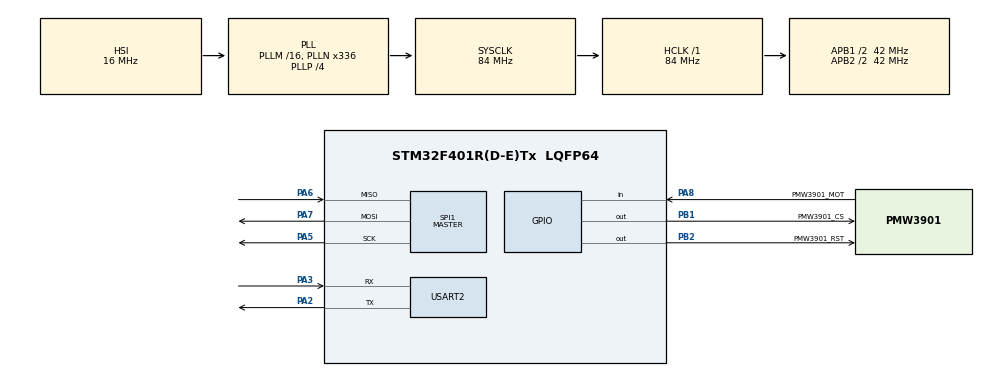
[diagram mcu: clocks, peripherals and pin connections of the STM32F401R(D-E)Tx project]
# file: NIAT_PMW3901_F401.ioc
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Mcu.Family=STM32F4
Mcu.Name=STM32F401R(D-E)Tx
Mcu.Package=LQFP64
NVIC.PriorityGroup=NVIC_PRIORITYGROUP_4
PA2.Mode=Asynchronous
PA2.Signal=USART2_TX
PA3.Mode=Asynchronous
PA3.Signal=USART2_RX
PA5.Mode=Full_Duplex_Master
PA5.Signal=SPI1_SCK
PA6.Mode=Full_Duplex_Master
PA6.Signal=SPI1_MISO
PA7.Mode=Full_Duplex_Master
PA7.Signal=SPI1_MOSI
PA8.GPIO_Label=PMW3901_MOT
PA8.Signal=GPIO_Input
PB1.GPIO_Label=PMW3901_CS
PB1.GPIO_Speed=GPIO_SPEED_FREQ_HIGH
PB1.PinState=GPIO_PIN_SET
PB1.Signal=GPIO_Output
PB2.GPIO_Label=PMW3901_RST
PB2.GPIO_Speed=GPIO_SPEED_FREQ_HIGH
PB2.PinState=GPIO_PIN_SET
PB2.Signal=GPIO_Output
ProjectManager.HeapSize=0x200
ProjectManager.StackSize=0x400
ProjectManager.TargetToolchain=STM32CubeIDE
RCC.48MHZClocksFreq_Value=84000000
RCC.AHBFreq_Value=84000000
RCC.APB1CLKDivider=RCC_HCLK_DIV2
RCC.APB1Freq_Value=42000000
RCC.APB1TimFreq_Value=84000000
RCC.APB2CLKDivider=RCC_HCLK_DIV2
RCC.APB2Freq_Value=42000000
RCC.APB2TimFreq_Value=84000000
RCC.CortexFreq_Value=84000000
RCC.HCLKFreq_Value=84000000
RCC.HSE_VALUE=25000000
RCC.HSI_VALUE=16000000
RCC.LSE_VALUE=32768
RCC.PLLN=336
RCC.PLLP=RCC_PLLP_DIV4
RCC.SYSCLKFreq_VALUE=84000000
RCC.SYSCLKSource=RCC_SYSCLKSOURCE_PLLCLK
RCC.VCOOutputFreq_Value=336000000
SPI1.BaudRatePrescaler=SPI_BAUDRATEPRESCALER_64
SPI1.Direction=SPI_DIRECTION_2LINES
SPI1.Mode=SPI_MODE_MASTER
SPI1.VirtualType=VM_MASTER
USART2.VirtualMode=VM_ASYNC
board=custom

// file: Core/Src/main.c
/* USER CODE BEGIN Header */
/**
  ******************************************************************************
  * @file           : main.c
  * @brief          : Main program body
  ******************************************************************************
  * @attention
  *
  * Copyright (c) 2026 STMicroelectronics.
  * All rights reserved.
  *
  * This software is licensed under terms that can be found in the LICENSE file
  * in the root directory of this software component.
  * If no LICENSE file comes with this software, it is provided AS-IS.
  *
  ******************************************************************************
  */
/* USER CODE END Header */
#include "main.h"

/* USER CODE BEGIN Includes */
#include "pmw3901.h"
#include <stdio.h>
#include <string.h>
/* USER CODE END Includes */

SPI_HandleTypeDef hspi1;

UART_HandleTypeDef huart2;

void SystemClock_Config(void);
static void MX_GPIO_Init(void);
static void MX_SPI1_Init(void);
static void MX_USART2_UART_Init(void);

/* USER CODE BEGIN 0 */
static void PMW3901_Print(const char *message)
{
    HAL_UART_Transmit(
        &huart2,
        (uint8_t *)message,
        (uint16_t)strlen(message),
        HAL_MAX_DELAY
    );
}
/* USER CODE END 0 */

int main(void)
{

  /* MCU Configuration--------------------------------------------------------*/

  /* Reset of all peripherals, Initializes the Flash interface and the Systick. */
  HAL_Init();

  /* Configure the system clock */
  SystemClock_Config();

  /* Initialize all configured peripherals */
  MX_GPIO_Init();
  MX_SPI1_Init();
  MX_USART2_UART_Init();
  /* USER CODE BEGIN 2 */
  PMW3901_Print("\r\n=== NIAT PMW3901 Diagnostic ===\r\n");
  PMW3901_Print("STM32F401 initialized.\r\n");

  PMW3901_Status status = PMW3901_Init();

  if (status == PMW3901_OK)
  {
      PMW3901_Print("PMW3901 initialization successful.\r\n");
  }
  else if (status == PMW3901_INVALID_DEVICE)
  {
      PMW3901_Print("PMW3901 device ID mismatch.\r\n");
  }
  else
  {
      PMW3901_Print("PMW3901 initialization failed.\r\n");
  }
  /* USER CODE END 2 */

  /* Infinite loop */
  while (1)
  {

    /* USER CODE BEGIN 3 */
	  if (PMW3901_IsInitialized())
	  {
	      PMW3901_MotionData motion;

	      status = PMW3901_ReadMotion(&motion);

	      if (status == PMW3901_OK)
	      {
	          char message[128];

	          (void)snprintf(
	              message,
	              sizeof(message),
	              "Motion: 0x%02X | dX: %d | dY: %d | SQUAL: %u\r\n",
	              motion.motion,
	              (int)motion.delta_x,
	              (int)motion.delta_y,
	              (unsigned int)motion.surface_quality
	          );

	          PMW3901_Print(message);
	      }
	      else
	      {
	          PMW3901_Print("PMW3901 motion read failed.\r\n");
	      }
	  }

	  HAL_Delay(100U);
  }
  /* USER CODE END 3 */
}

void SystemClock_Config(void)
{
  RCC_OscInitTypeDef RCC_OscInitStruct = {0};
  RCC_ClkInitTypeDef RCC_ClkInitStruct = {0};

  /** Configure the main internal regulator output voltage
  */
  __HAL_RCC_PWR_CLK_ENABLE();
  __HAL_PWR_VOLTAGESCALING_CONFIG(PWR_REGULATOR_VOLTAGE_SCALE2);

  /** Initializes the RCC Oscillators according to the specified parameters
  * in the RCC_OscInitTypeDef structure.
  */
  RCC_OscInitStruct.OscillatorType = RCC_OSCILLATORTYPE_HSI;
  RCC_OscInitStruct.HSIState = RCC_HSI_ON;
  RCC_OscInitStruct.HSICalibrationValue = RCC_HSICALIBRATION_DEFAULT;
  RCC_OscInitStruct.PLL.PLLState = RCC_PLL_ON;
  RCC_OscInitStruct.PLL.PLLSource = RCC_PLLSOURCE_HSI;
  RCC_OscInitStruct.PLL.PLLM = 16;
  RCC_OscInitStruct.PLL.PLLN = 336;
  RCC_OscInitStruct.PLL.PLLP = RCC_PLLP_DIV4;
  RCC_OscInitStruct.PLL.PLLQ = 4;
  if (HAL_RCC_OscConfig(&RCC_OscInitStruct) != HAL_OK)
  {
    Error_Handler();
  }

  /** Initializes the CPU, AHB and APB buses clocks
  */
  RCC_ClkInitStruct.ClockType = RCC_CLOCKTYPE_HCLK|RCC_CLOCKTYPE_SYSCLK
                              |RCC_CLOCKTYPE_PCLK1|RCC_CLOCKTYPE_PCLK2;
  RCC_ClkInitStruct.SYSCLKSource = RCC_SYSCLKSOURCE_PLLCLK;
  RCC_ClkInitStruct.AHBCLKDivider = RCC_SYSCLK_DIV1;
  RCC_ClkInitStruct.APB1CLKDivider = RCC_HCLK_DIV2;
  RCC_ClkInitStruct.APB2CLKDivider = RCC_HCLK_DIV2;

  if (HAL_RCC_ClockConfig(&RCC_ClkInitStruct, FLASH_LATENCY_2) != HAL_OK)
  {
    Error_Handler();
  }
}

static void MX_SPI1_Init(void)
{

  /* SPI1 parameter configuration*/
  hspi1.Instance = SPI1;
  hspi1.Init.Mode = SPI_MODE_MASTER;
  hspi1.Init.Direction = SPI_DIRECTION_2LINES;
  hspi1.Init.DataSize = SPI_DATASIZE_8BIT;
  hspi1.Init.CLKPolarity = SPI_POLARITY_LOW;
  hspi1.Init.CLKPhase = SPI_PHASE_1EDGE;
  hspi1.Init.NSS = SPI_NSS_SOFT;
  hspi1.Init.BaudRatePrescaler = SPI_BAUDRATEPRESCALER_64;
  hspi1.Init.FirstBit = SPI_FIRSTBIT_MSB;
  hspi1.Init.TIMode = SPI_TIMODE_DISABLE;
  hspi1.Init.CRCCalculation = SPI_CRCCALCULATION_DISABLE;
  hspi1.Init.CRCPolynomial = 10;
  if (HAL_SPI_Init(&hspi1) != HAL_OK)
  {
    Error_Handler();
  }

}

static void MX_USART2_UART_Init(void)
{

  huart2.Instance = USART2;
  huart2.Init.BaudRate = 115200;
  huart2.Init.WordLength = UART_WORDLENGTH_8B;
  huart2.Init.StopBits = UART_STOPBITS_1;
  huart2.Init.Parity = UART_PARITY_NONE;
  huart2.Init.Mode = UART_MODE_TX_RX;
  huart2.Init.HwFlowCtl = UART_HWCONTROL_NONE;
  huart2.Init.OverSampling = UART_OVERSAMPLING_16;
  if (HAL_UART_Init(&huart2) != HAL_OK)
  {
    Error_Handler();
  }

}

static void MX_GPIO_Init(void)
{
  GPIO_InitTypeDef GPIO_InitStruct = {0};

  /* GPIO Ports Clock Enable */
  __HAL_RCC_GPIOA_CLK_ENABLE();
  __HAL_RCC_GPIOB_CLK_ENABLE();

  /*Configure GPIO pin Output Level */
  HAL_GPIO_WritePin(GPIOB, PMW3901_CS_Pin|PMW3901_RST_Pin, GPIO_PIN_SET);

  /*Configure GPIO pins : PMW3901_CS_Pin PMW3901_RST_Pin */
  GPIO_InitStruct.Pin = PMW3901_CS_Pin|PMW3901_RST_Pin;
  GPIO_InitStruct.Mode = GPIO_MODE_OUTPUT_PP;
  GPIO_InitStruct.Pull = GPIO_NOPULL;
  GPIO_InitStruct.Speed = GPIO_SPEED_FREQ_HIGH;
  HAL_GPIO_Init(GPIOB, &GPIO_InitStruct);

  /*Configure GPIO pin : PMW3901_MOT_Pin */
  GPIO_InitStruct.Pin = PMW3901_MOT_Pin;
  GPIO_InitStruct.Mode = GPIO_MODE_INPUT;
  GPIO_InitStruct.Pull = GPIO_NOPULL;
  HAL_GPIO_Init(PMW3901_MOT_GPIO_Port, &GPIO_InitStruct);

}

void Error_Handler(void)
{
  __disable_irq();
  while (1)
  {
  }
}
